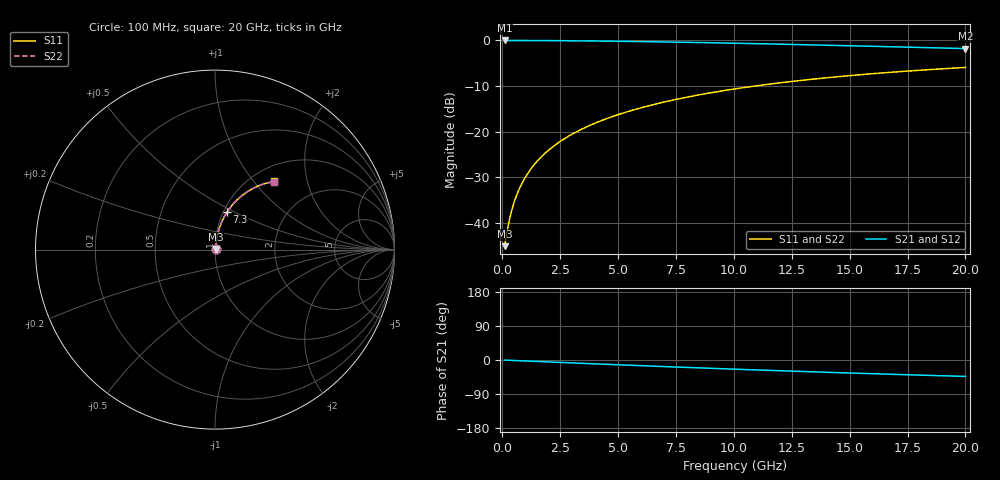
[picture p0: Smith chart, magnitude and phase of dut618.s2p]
! Touchstone file exported from HFSS 2024.1.0
!  File:  C:/UserFiles/LocalFiles/RDL_TSV_Batchsim/temp_RDL_bottom_618_1779783917.aedt
!  Generated:  04:28:04 PM May 26, 2026
!  Design:  RDL_bottom
!  Project:  temp_RDL_bottom_618_1779783917
!  Setup:  Setup1
!  Solution:  Sweep
! Variables:
!  dtsv = 10.80580581um
!  hbump = 3um
!  htsv = 87.33um
!  ldown = 548.41um
!  lrdl = 100um
!  p = 40
!  p1 = 50.2um
!  rhole = 1um
!  t = 450um
!  tdown = 4.26um
!  trdl = 3.915915916um
!  wdown = 10.11um
!  wrdl = 20um
# GHz S MA R 50.000000
! Terminal data exported
! Port[1] = RDL1_T1
! Port[2] = RDL1_T2
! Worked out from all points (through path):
!   200 points, 100 MHz to 20 GHz, reference 50 ohm
!   highest |S21| = -0.04 dB at 100 MHz (marker M1); lowest = -1.8 dB at 20 GHz (marker M2)
!   group delay of S21, straight-line fit = 6.02 ps
!   lowest |S11| = -45.1 dB at 100 MHz (marker M3), VSWR 1.01, Z = 50.5 + j0.321 ohm
!   |S11| at or under -10 dB: start of sweep to 10.95 GHz
!   |S22| runs from -45.1 to -6.0 dB; largest |S21 - S12| = 2.6e-15
!   S11 on the Smith chart (normalised r, x): 100 MHz: 1.01, +0.01; 7.3 GHz: 1.04, +0.46; 20 GHz: 1.26, +1.28
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0.1  0.005539 35.1  0.9955 -0.3  0.9955 -0.3  0.005539 35.1
! Gamma 0 0 0 0
! Port Impedance 50 0 50 0
0.2  0.007845 53.9  0.9954 -0.5  0.9954 -0.5  0.007846 53.9
0.3  0.01059 63.4  0.9953 -0.8  0.9953 -0.8  0.01059 63.4
0.4  0.01349 68.8  0.9952 -1.0  0.9952 -1.0  0.01349 68.8
0.5  0.01646 72.2  0.9951 -1.3  0.9951 -1.3  0.01646 72.2
0.6  0.01947 74.5  0.9949 -1.6  0.9949 -1.6  0.01947 74.5
0.8  0.02555 77.4  0.9946 -2.1  0.9946 -2.1  0.02556 77.4
1.1  0.03476 79.5  0.994 -2.8  0.994 -2.8  0.03476 79.5
1.5  0.04709 80.6  0.9931 -3.9  0.9931 -3.9  0.04709 80.6
1.8  0.05633 80.8  0.9923 -4.6  0.9923 -4.6  0.05633 80.8
2.1  0.06556 80.8  0.9913 -5.4  0.9913 -5.4  0.06556 80.8
2.7  0.08394 80.3  0.9889 -6.9  0.9889 -6.9  0.08394 80.3
3.5  0.1083 79.2  0.985 -8.9  0.985 -8.9  0.1082 79.2
4.2  0.1293 78.1  0.9809 -10.7  0.9809 -10.7  0.1293 78.1
5  0.153 76.6  0.9754 -12.6  0.9754 -12.6  0.153 76.6
6.8  0.2051 73.2  0.9608 -16.9  0.9608 -16.9  0.2051 73.2
7.3  0.2192 72.2  0.9562 -18.1  0.9562 -18.1  0.2192 72.2
8.6  0.255 69.6  0.9436 -21.0  0.9436 -21.0  0.2549 69.6
10.1  0.2946 66.7  0.9278 -24.4  0.9278 -24.4  0.2945 66.7
13.4  0.3747 60.4  0.8901 -31.2  0.8901 -31.2  0.3746 60.4
16.7  0.4444 54.4  0.8505 -37.5  0.8505 -37.5  0.4442 54.4
20  0.5037 48.9  0.8111 -43.3  0.8111 -43.3  0.5035 48.9
